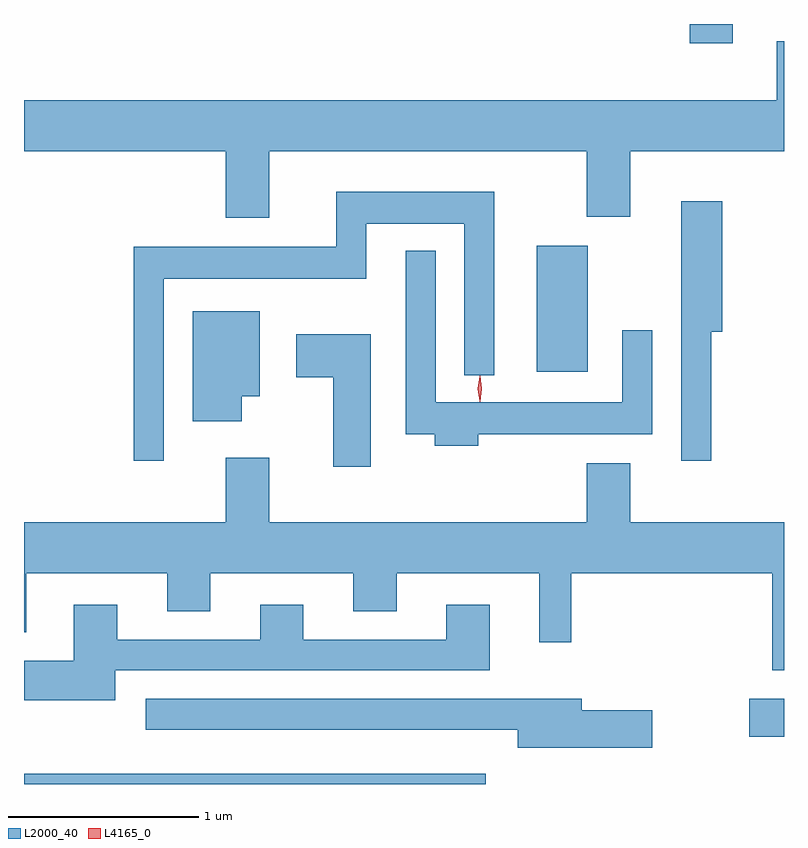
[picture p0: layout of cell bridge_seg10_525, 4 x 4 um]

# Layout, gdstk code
import gdstk
lib = gdstk.Library(unit=1e-6, precision=1e-09)
def R(c, l, rs):  # rectangles x0, y0, x1, y1
    for r in rs: c.add(gdstk.rectangle(r[:2], r[2:], *l))
def P(c, l, *ps):  # polygons
    for p in ps: c.add(gdstk.Polygon(p, *l))
L2000_40 = (2000, 40)
L4165_0 = (4165, 0)

bridge_seg10_525 = lib.new_cell('bridge_seg10_525')
R(bridge_seg10_525, L2000_40, [(776.808,2181.626,779.239,2181.679), (780.626,2181.876,780.808,2182.074), (779.506,2183.796,779.774,2184.459), (780.311,2185.526,780.539,2185.626)])
P(bridge_seg10_525, L2000_40, [(778.099,2184.956),(779.771,2184.956),(779.771,2184.611),(779.999,2184.611),(779.999,2184.956),(780.808,2184.956),(780.808,2185.534),(780.771,2185.534),(780.771,2185.224),(776.808,2185.224),(776.808,2184.956),(777.871,2184.956),(777.871,2184.606),(778.099,2184.606)],
  [(777.544,2184.286),(778.609,2184.286),(778.609,2184.576),(779.126,2184.576),(779.126,2183.778),(779.284,2183.778),(779.284,2184.744),(778.451,2184.744),(778.451,2184.454),(777.386,2184.454),(777.386,2183.328),(777.544,2183.328)],
  [(780.424,2184.006),(780.484,2184.006),(780.484,2184.694),(780.266,2184.694),(780.266,2183.328),(780.424,2183.328)],
  [(779.199,2183.466),(780.114,2183.466),(780.114,2184.013),(779.956,2184.013),(779.956,2183.634),(778.974,2183.634),(778.974,2184.433),(778.816,2184.433),(778.816,2183.466),(778.971,2183.466),(778.971,2183.406),(779.199,2183.406)],
  [(777.954,2183.666),(778.049,2183.666),(778.049,2184.114),(777.696,2184.114),(777.696,2183.536),(777.954,2183.536)],
  [(778.634,2183.994),(778.241,2183.994),(778.241,2183.766),(778.436,2183.766),(778.436,2183.296),(778.634,2183.296)],
  [(780.808,2183.004),(779.999,2183.004),(779.999,2183.314),(779.771,2183.314),(779.771,2183.004),(778.099,2183.004),(778.099,2183.344),(777.871,2183.344),(777.871,2183.004),(776.808,2183.004),(776.808,2182.426),(776.819,2182.426),(776.819,2182.736),(777.561,2182.736),(777.561,2182.536),(777.789,2182.536),(777.789,2182.736),(778.541,2182.736),(778.541,2182.536),(778.769,2182.536),(778.769,2182.736),(779.521,2182.736),(779.521,2182.373),(779.689,2182.373),(779.689,2182.736),(780.746,2182.736),(780.746,2182.226),(780.808,2182.226)],
  [(777.289,2182.226),(779.259,2182.226),(779.259,2182.569),(779.031,2182.569),(779.031,2182.384),(778.279,2182.384),(778.279,2182.569),(778.051,2182.569),(778.051,2182.384),(777.299,2182.384),(777.299,2182.569),(777.071,2182.569),(777.071,2182.274),(776.808,2182.274),(776.808,2182.066),(777.289,2182.066)],
  [(780.114,2182.014),(779.744,2182.014),(779.744,2182.074),(777.448,2182.074),(777.448,2181.911),(779.406,2181.911),(779.406,2181.816),(780.114,2181.816)])
P(bridge_seg10_525, L4165_0, [(779.207,2183.637),(779.198,2183.707),(779.207,2183.776),(779.208,2183.776),(779.208,2183.776),(779.218,2183.707),(779.208,2183.637),(779.208,2183.637)],
  [(779.206,2183.64),(779.206,2183.64),(779.196,2183.706),(779.206,2183.772),(779.206,2183.773),(779.207,2183.772),(779.216,2183.706),(779.207,2183.64)])

lib.write_gds('bridge_seg10_525.gds')
